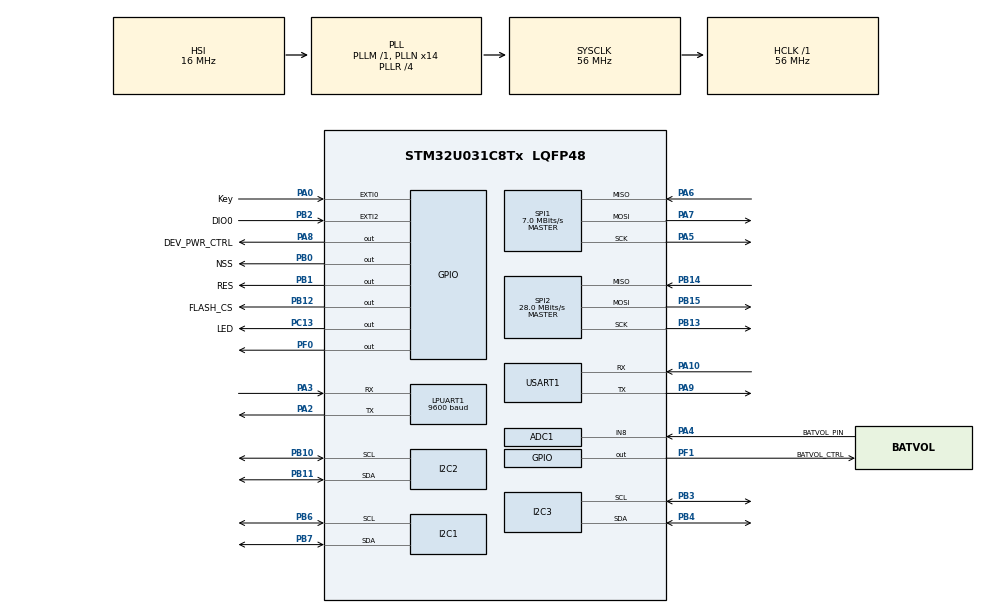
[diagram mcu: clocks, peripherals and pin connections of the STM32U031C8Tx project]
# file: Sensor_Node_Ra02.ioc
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ADC1.Channel-7\#ChannelRegularConversion=ADC_CHANNEL_8
ADC1.ClockPrescaler=ADC_CLOCK_SYNC_PCLK_DIV4
ADC1.NbrOfConversionFlag=1
ADC1.Rank-7\#ChannelRegularConversion=1
ADC1.RankArg-7\#ChannelRegularConversion=ADC_REGULAR_RANK_1
ADC1.SamplingTime-7\#ChannelRegularConversion=ADC_SAMPLINGTIME_COMMON_1
ADC1.SamplingTimeCommon1=ADC_SAMPLETIME_160CYCLES_5
ADC1.SamplingTimeCommon2=ADC_SAMPLETIME_160CYCLES_5
ADC1.SelectedChannel=ADC_CHANNEL_8
ADC1.master=1
CRC.CRCLength=CRC_POLYLENGTH_16B
CRC.DefaultInitValueUse=DEFAULT_INIT_VALUE_DISABLE
CRC.DefaultPolynomialUse=DEFAULT_POLYNOMIAL_DISABLE
CRC.GeneratingPolynomial=X15+X2+X0
CRC.InitValue=0xFFFF
CRC.InputDataInversionMode=CRC_INPUTDATA_INVERSION_BIT_BYBYTE
CRC.OutputDataInversionMode=CRC_OUTPUTDATA_INVERSION_BIT
Dma.Request0=USART1_RX
Dma.Request1=USART1_TX
Dma.USART1_RX.0.Direction=DMA_PERIPH_TO_MEMORY
Dma.USART1_RX.0.EventEnable=DISABLE
Dma.USART1_RX.0.Instance=DMA1_Channel1
Dma.USART1_RX.0.MemDataAlignment=DMA_MDATAALIGN_BYTE
Dma.USART1_RX.0.MemInc=DMA_MINC_ENABLE
Dma.USART1_RX.0.Mode=DMA_CIRCULAR
Dma.USART1_RX.0.PeriphDataAlignment=DMA_PDATAALIGN_BYTE
Dma.USART1_RX.0.PeriphInc=DMA_PINC_DISABLE
Dma.USART1_RX.0.Polarity=HAL_DMAMUX_REQ_GEN_RISING
Dma.USART1_RX.0.Priority=DMA_PRIORITY_LOW
Dma.USART1_RX.0.RequestNumber=1
Dma.USART1_RX.0.SignalID=NONE
Dma.USART1_RX.0.SyncEnable=DISABLE
Dma.USART1_RX.0.SyncPolarity=HAL_DMAMUX_SYNC_NO_EVENT
Dma.USART1_RX.0.SyncRequestNumber=1
Dma.USART1_RX.0.SyncSignalID=NONE
Dma.USART1_TX.1.Direction=DMA_MEMORY_TO_PERIPH
Dma.USART1_TX.1.EventEnable=DISABLE
Dma.USART1_TX.1.Instance=DMA1_Channel2
Dma.USART1_TX.1.MemDataAlignment=DMA_MDATAALIGN_BYTE
Dma.USART1_TX.1.MemInc=DMA_MINC_ENABLE
Dma.USART1_TX.1.Mode=DMA_NORMAL
Dma.USART1_TX.1.PeriphDataAlignment=DMA_PDATAALIGN_BYTE
Dma.USART1_TX.1.PeriphInc=DMA_PINC_DISABLE
Dma.USART1_TX.1.Polarity=HAL_DMAMUX_REQ_GEN_RISING
Dma.USART1_TX.1.Priority=DMA_PRIORITY_LOW
Dma.USART1_TX.1.RequestNumber=1
Dma.USART1_TX.1.SignalID=NONE
Dma.USART1_TX.1.SyncEnable=DISABLE
Dma.USART1_TX.1.SyncPolarity=HAL_DMAMUX_SYNC_NO_EVENT
Dma.USART1_TX.1.SyncRequestNumber=1
Dma.USART1_TX.1.SyncSignalID=NONE
I2C1.Timing=0x10606DA4
I2C2.Timing=0x10606DA4
I2C3.Timing=0x10606DA4
LPUART1.BaudRate=9600
Mcu.Family=STM32U0
Mcu.Name=STM32U031C8Tx
Mcu.Package=LQFP48
NVIC.DMA1_Channel1_IRQn=true\:3\:0\:true\:false\:true\:false\:true\:true
NVIC.DMA1_Channel2_3_IRQn=true\:3\:0\:true\:false\:true\:false\:true\:true
NVIC.EXTI0_1_IRQn=true\:2\:0\:true\:false\:true\:true\:true\:true
NVIC.EXTI2_3_IRQn=true\:1\:0\:true\:false\:true\:true\:true\:true
NVIC.PriorityGroup=NVIC_PRIORITYGROUP_2
NVIC.RTC_TAMP_IRQn=true\:0\:0\:false\:false\:true\:true\:true\:true
NVIC.USART1_IRQn=true\:3\:0\:true\:false\:true\:true\:true\:true
NVIC.USART3_LPUART1_IRQn=true\:3\:0\:true\:false\:true\:true\:true\:true
PA0.GPIO_Label=Key
PA0.GPIO_ModeDefaultEXTI=GPIO_MODE_IT_RISING_FALLING
PA0.GPIO_PuPd=GPIO_PULLUP
PA0.Signal=GPXTI0
PA10.Mode=Asynchronous
PA10.Signal=USART1_RX
PA13\ (SWDIO).Mode=Serial_Wire
PA13\ (SWDIO).Signal=DEBUG_JTMS-SWDIO
PA14\ (SWCLK).Mode=Serial_Wire
PA14\ (SWCLK).Signal=DEBUG_JTCK-SWCLK
PA2.Mode=Asynchronous
PA2.Signal=LPUART1_TX
PA3.Mode=Asynchronous
PA3.Signal=LPUART1_RX
PA4.GPIO_Label=BATVOL_PIN
PA4.Mode=IN8
PA4.Signal=ADC1_IN8
PA5.Mode=Full_Duplex_Master
PA5.Signal=SPI1_SCK
PA6.Mode=Full_Duplex_Master
PA6.Signal=SPI1_MISO
PA7.Mode=Full_Duplex_Master
PA7.Signal=SPI1_MOSI
PA8.GPIO_Label=DEV_PWR_CTRL
PA8.GPIO_PuPd=GPIO_PULLUP
PA8.GPIO_Speed=GPIO_SPEED_FREQ_LOW
PA8.PinState=GPIO_PIN_RESET
PA8.Signal=GPIO_Output
PA9.Mode=Asynchronous
PA9.Signal=USART1_TX
PB0.GPIO_Label=NSS
PB0.PinState=GPIO_PIN_SET
PB0.Signal=GPIO_Output
PB1.GPIO_Label=RES
PB1.PinState=GPIO_PIN_SET
PB1.Signal=GPIO_Output
PB10.Mode=I2C
PB10.Signal=I2C2_SCL
PB11.Mode=I2C
PB11.Signal=I2C2_SDA
PB12.GPIO_Label=FLASH_CS
PB12.GPIO_Speed=GPIO_SPEED_FREQ_HIGH
PB12.Signal=GPIO_Output
PB13.Mode=Full_Duplex_Master
PB13.Signal=SPI2_SCK
PB14.Mode=Full_Duplex_Master
PB14.Signal=SPI2_MISO
PB15.Mode=Full_Duplex_Master
PB15.Signal=SPI2_MOSI
PB2.GPIO_Label=DIO0
PB2.GPIO_PuPd=GPIO_PULLDOWN
PB2.Signal=GPXTI2
PB3.Mode=I2C
PB3.Signal=I2C3_SCL
PB4.Mode=I2C
PB4.Signal=I2C3_SDA
PB6.Mode=I2C
PB6.Signal=I2C1_SCL
PB7.Mode=I2C
PB7.Signal=I2C1_SDA
PC13.GPIO_Label=LED
PC13.GPIO_PuPd=GPIO_PULLUP
PC13.PinState=GPIO_PIN_RESET
PC13.Signal=GPIO_Output
PC14-OSC32_IN.Mode=LSE-External-Oscillator
PC14-OSC32_IN.Signal=RCC_OSC32_IN
PC15-OSC32_OUT.Mode=LSE-External-Oscillator
PC15-OSC32_OUT.Signal=RCC_OSC32_OUT
PF0-OSC_IN.PinState=GPIO_PIN_SET
PF0-OSC_IN.Signal=GPIO_Output
PF1-OSC_OUT.GPIO_Label=BATVOL_CTRL
PF1-OSC_OUT.GPIO_PuPd=GPIO_PULLUP
PF1-OSC_OUT.GPIO_Speed=GPIO_SPEED_FREQ_VERY_HIGH
PF1-OSC_OUT.PinState=GPIO_PIN_SET
PF1-OSC_OUT.Signal=GPIO_Output
ProjectManager.HeapSize=0x200
ProjectManager.StackSize=0x400
ProjectManager.TargetToolchain=MDK-ARM V5.37
RCC.ADCFreq_Value=56000000
RCC.AHBFreq_Value=56000000
RCC.CortexFreq_Value=56000000
RCC.HCLKFreq_Value=56000000
RCC.HSE_VALUE=8000000
RCC.HSI48_VALUE=48000000
RCC.HSI_VALUE=16000000
RCC.LPUART1CLockSelection=RCC_LPUART1CLKSOURCE_HSI
RCC.MSI_VALUE=4000000
RCC.PLLN=14
RCC.PLLR=RCC_PLLR_DIV4
RCC.SYSCLKFreq_VALUE=56000000
RCC.SYSCLKSource=RCC_SYSCLKSOURCE_PLLCLK
RCC.VCOOutputFreq_Value=224000000
RTC.WakeUpClock-WakeUp=RTC_WAKEUPCLOCK_CK_SPRE_16BITS
SPI1.BaudRatePrescaler=SPI_BAUDRATEPRESCALER_8
SPI1.CalculateBaudRate=7.0 MBits/s
SPI1.DataSize=SPI_DATASIZE_8BIT
SPI1.Direction=SPI_DIRECTION_2LINES
SPI1.Mode=SPI_MODE_MASTER
SPI1.VirtualType=VM_MASTER
SPI2.BaudRatePrescaler=SPI_BAUDRATEPRESCALER_2
SPI2.CalculateBaudRate=28.0 MBits/s
SPI2.DataSize=SPI_DATASIZE_8BIT
SPI2.Direction=SPI_DIRECTION_2LINES
SPI2.Mode=SPI_MODE_MASTER
SPI2.VirtualType=VM_MASTER
USART1.VirtualMode-Asynchronous=VM_ASYNC
VP_CRC_VS_CRC.Mode=CRC_Activate
VP_PWR_VS_SECSignals.Mode=Security/Privilege
VP_RTC_VS_RTC_Activate.Mode=RTC_Enabled
VP_RTC_VS_RTC_Calendar.Mode=RTC_Calendar
VP_RTC_VS_RTC_WakeUp_intern.Mode=WakeUp
board=custom

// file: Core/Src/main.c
/* USER CODE BEGIN Header */
/**
  ******************************************************************************
  * @file           : main.c
  * @brief          : Main program body
  ******************************************************************************
  * @attention
  *
  * Copyright (c) 2025 STMicroelectronics.
  * All rights reserved.
  *
  * This software is licensed under terms that can be found in the LICENSE file
  * in the root directory of this software component.
  * If no LICENSE file comes with this software, it is provided AS-IS.
  *
  ******************************************************************************
  */
/* USER CODE END Header */
#include "main.h"
#include "adc.h"
#include "crc.h"
#include "dma.h"
#include "i2c.h"
#include "usart.h"
#include "rtc.h"
#include "spi.h"
#include "gpio.h"

/* USER CODE BEGIN Includes */
#include "stdio.h"
#include "string.h"
#include "stdint.h"
#include "stdlib.h"
#include "LoRa.h"
#include "bh1750.h"
#include "bmp280.h"
#include "gps.h"
#include "w25qxx.h"
#include "sht40.h"
#include "device_properties.h"
#include "lora_protocol.h"
#include "battery.h"
#include "config_manager.h"
#include "key_handler.h"
#include "state_manager.h"
#include "cli_manager.h"
/* USER CODE END Includes */

/* USER CODE BEGIN PV */
// LoRa配置及发送缓冲区
static LoRa myLoRa;
static uint8_t lora_send_buffer[35];
// 传感器数据结构体 (volatile确保在中断和主循环间安全访问)
static volatile ExternalSensorProperties_t sensor_data;

// -- 系统状态机变量 --
static volatile SystemState_t g_SystemState = STATE_NORMAL_OPERATION;

// -- 低功耗工作循环相关变量 --
static uint8_t lora_transmission_count = 0;  // 当前工作周期内已发送的次数
static uint32_t last_transmission_time = 0; // 上次发送的时间戳
/* USER CODE END PV */

void SystemClock_Config(void);
/* USER CODE BEGIN PFP */
/** @brief 初始化所有应用层和驱动层外设 */
void Peripherals_Init(void);
/** @brief 反初始化所有应用层和驱动层外设，为进入低功耗模式做准备 */
void Peripherals_DeInit(void);
/** @brief 执行一次完整的数据采集、打包和LoRa发送流程 */
void Perform_Sensor_Transmission(void);

// --- 按键事件的回调函数 ---
void on_key_long_press(void);
void on_key_short_press(void);
/* USER CODE END PFP */

/* USER CODE BEGIN 0 */
void print_hex(char *buffer, int len){
	int i;
	printf("******************start code**********************************\n");
	for(i = 1; i <= len; i++){
		printf("0x%02X ",buffer[i-1]);
		if(i % 16 == 0){
			printf("\n");
		}
	}
	printf("\n");
	printf("********************end code************************************\n");
}

/**
 * @brief 长按按键的回调函数实现
 */
void on_key_long_press(void)
{
    // 仅在正常工作模式下响应，防止在配置模式下重复进入
    if (g_SystemState == STATE_NORMAL_OPERATION)
    {
        g_SystemState = STATE_CONFIGURATION;
        GPS_Pause(); // 暂停GPS处理以节省CPU资源
        HAL_GPIO_WritePin(LED_GPIO_Port, LED_Pin, GPIO_PIN_SET); // 打开LED作为状态指示
        printf("\r\n--- 按键长按: 进入配置模式 ---\r\n");
    }
}

/**
 * @brief 短按按键的回调函数实现
 */
void on_key_short_press(void)
{
    // 仅在配置模式下响应，用于退出配置模式
    if (g_SystemState == STATE_CONFIGURATION)
    {
        g_SystemState = STATE_NORMAL_OPERATION;
        GPS_Resume(); // 恢复GPS处理
        HAL_GPIO_WritePin(LED_GPIO_Port, LED_Pin, GPIO_PIN_RESET); // 关闭LED
        printf("\r\n--- 按键短按: 退出配置模式，恢复正常运行 ---\r\n");
    }
    else
    {
        // 在正常模式下，短按主要用于从STOP模式唤醒MCU。
        // 具体的唤醒逻辑由EXTI中断本身处理，这里可以定义其他交互功能。
        printf("\r\n--- 按键短按: (正常模式下) 可在此定义其他功能 ---\r\n");
    }
}
/* USER CODE END 0 */

int main(void)
{

  /* MCU Configuration--------------------------------------------------------*/

  /* Reset of all peripherals, Initializes the Flash interface and the Systick. */
  HAL_Init();

  /* Configure the system clock */
  SystemClock_Config();

  /* USER CODE BEGIN SysInit */
  // --- Check and handle wakeup from Stop mode ---
  if (__HAL_PWR_GET_FLAG(PWR_FLAG_WUF2) != RESET)
  {
    // Clear the RTC Wakeup flag
    __HAL_PWR_CLEAR_FLAG(PWR_FLAG_WUF2);
    // Note: WUF1 is for the key press, we let its handler run normally.
  }

  /* USER CODE END SysInit */

  /* Initialize all configured peripherals */
  MX_GPIO_Init();
  MX_DMA_Init();
  MX_SPI1_Init();
  MX_USART1_UART_Init();
  MX_ADC1_Init();
  MX_I2C1_Init();
  MX_I2C2_Init();
  MX_I2C3_Init();
  MX_SPI2_Init();
  MX_CRC_Init();
  MX_LPUART1_UART_Init();
  MX_RTC_Init();
  /* USER CODE BEGIN 2 */
  // 在启动时停用RTC唤醒定时器，因为它可能在复位后默认开启。
  // 我们只在进入休眠模式前才需要它。
  HAL_RTCEx_DeactivateWakeUpTimer(&hrtc);

  // 在系统启动时，仅执行一次按键处理模块的初始化。
  Key_Init();
  Key_Register_Callbacks(on_key_short_press, on_key_long_press);

  Peripherals_Init();

	printf("系统启动!\r\n");
  /* USER CODE END 2 */

  /* Infinite loop */
  while (1)
  {

    /* USER CODE BEGIN 3 */
    // 处理按键事件（主要负责检测长按）
    Key_Process();

    // --- 状态机逻辑 ---
    if (g_SystemState == STATE_NORMAL_OPERATION)
    {
        // 检查是否到了下一次发送的时间点。第一次(count=0)立即发送。
        if (lora_transmission_count < 4 &&
           (lora_transmission_count == 0 || HAL_GetTick() - last_transmission_time >= 5000))
        {
            Perform_Sensor_Transmission();
            lora_transmission_count++;
            last_transmission_time = HAL_GetTick(); // 发送后重置时间戳
        }

        // 如果当前周期的所有发送任务都已完成，则准备休眠
        if (lora_transmission_count >= 4)
        {
            printf("\r\n--- 工作周期完成，准备进入STOP 2模式... ---\r\n");
            Peripherals_DeInit(); // 关闭外设以降低功耗

            // 短暂延时，确保printf能完成输出
            HAL_Delay(100);

            // 挂起SysTick，防止SysTick中断唤醒MCU
            HAL_SuspendTick();

            // 设置RTC唤醒定时器，60秒后唤醒
            if (HAL_RTCEx_SetWakeUpTimer_IT(&hrtc, 59, RTC_WAKEUPCLOCK_CK_SPRE_16BITS, 0) != HAL_OK)
            {
                Error_Handler();
            }
            printf("RTC唤醒定时器已设置为60秒。\r\n");

            // 进入STOP 2模式，等待中断（WFI）
            HAL_PWREx_EnterSTOP2Mode(PWR_STOPENTRY_WFI);

            // --- MCU唤醒点 ---
            // 代码将在此处继续执行...

            // 从STOP模式唤醒后，系统时钟会重置为MSI，必须重新配置
            SystemClock_Config();
            // 恢复SysTick
            HAL_ResumeTick();
            printf("\r\n--- 已从STOP 2模式唤醒 ---\r\n");

            // 关键修复：从深度睡眠唤醒后，必须重新初始化所有HAL库级别的外设。
            // 因为在STOP模式下，它们大部分的时钟和电源都被关闭了。
            MX_GPIO_Init();
            MX_DMA_Init();
            MX_SPI1_Init();
            MX_USART1_UART_Init();
            MX_ADC1_Init();
            MX_I2C1_Init();
            MX_I2C2_Init();
            MX_I2C3_Init();
            MX_SPI2_Init();
            MX_CRC_Init();
            MX_LPUART1_UART_Init();
            // 注意：RTC在整个过程中持续运行，无需重新初始化。

            // 重置工作循环计数器，并重新初始化应用层驱动，准备开始新的工作周期
            lora_transmission_count = 0;
            Peripherals_Init();
        }
    }
    else if (g_SystemState == STATE_CONFIGURATION)
    {
        // 在配置模式下，循环处理CLI指令
        CLI_Process();
    }

    /* USER CODE END 3 */
  }
  /* USER CODE END 3 */
}

void SystemClock_Config(void)
{
  RCC_OscInitTypeDef RCC_OscInitStruct = {0};
  RCC_ClkInitTypeDef RCC_ClkInitStruct = {0};

  /** Configure the main internal regulator output voltage
  */
  HAL_PWREx_ControlVoltageScaling(PWR_REGULATOR_VOLTAGE_SCALE1);

  /** Initializes the RCC Oscillators according to the specified parameters
  * in the RCC_OscInitTypeDef structure.
  */
  RCC_OscInitStruct.OscillatorType = RCC_OSCILLATORTYPE_HSI|RCC_OSCILLATORTYPE_LSI;
  RCC_OscInitStruct.HSIState = RCC_HSI_ON;
  RCC_OscInitStruct.HSICalibrationValue = RCC_HSICALIBRATION_DEFAULT;
  RCC_OscInitStruct.LSIState = RCC_LSI_ON;
  RCC_OscInitStruct.PLL.PLLState = RCC_PLL_ON;
  RCC_OscInitStruct.PLL.PLLSource = RCC_PLLSOURCE_HSI;
  RCC_OscInitStruct.PLL.PLLM = RCC_PLLM_DIV1;
  RCC_OscInitStruct.PLL.PLLN = 14;
  RCC_OscInitStruct.PLL.PLLP = RCC_PLLP_DIV2;
  RCC_OscInitStruct.PLL.PLLQ = RCC_PLLQ_DIV2;
  RCC_OscInitStruct.PLL.PLLR = RCC_PLLR_DIV4;
  if (HAL_RCC_OscConfig(&RCC_OscInitStruct) != HAL_OK)
  {
    Error_Handler();
  }

  /** Initializes the CPU, AHB and APB buses clocks
  */
  RCC_ClkInitStruct.ClockType = RCC_CLOCKTYPE_HCLK|RCC_CLOCKTYPE_SYSCLK
                              |RCC_CLOCKTYPE_PCLK1;
  RCC_ClkInitStruct.SYSCLKSource = RCC_SYSCLKSOURCE_PLLCLK;
  RCC_ClkInitStruct.AHBCLKDivider = RCC_SYSCLK_DIV1;
  RCC_ClkInitStruct.APB1CLKDivider = RCC_HCLK_DIV1;

  if (HAL_RCC_ClockConfig(&RCC_ClkInitStruct, FLASH_LATENCY_2) != HAL_OK)
  {
    Error_Handler();
  }
}

/* USER CODE BEGIN 4 */
void Peripherals_DeInit(void)
{
    printf("De-initializing peripherals...\r\n");

    // De-init HAL drivers to save power and prevent bus issues
    HAL_SPI_DeInit(&hspi1);
    HAL_SPI_DeInit(&hspi2);
    HAL_I2C_DeInit(&hi2c1);
    HAL_I2C_DeInit(&hi2c2);
    HAL_I2C_DeInit(&hi2c3);
    HAL_ADC_DeInit(&hadc1);
    HAL_UART_DeInit(&hlpuart1);

    // Turn off peripheral power
    HAL_GPIO_WritePin(DEV_PWR_CTRL_GPIO_Port, DEV_PWR_CTRL_Pin, GPIO_PIN_RESET);
    printf("Peripheral power OFF.\r\n");
}

void Peripherals_Init(void)
{
  // This function centralizes all peripheral initializations
  // that need to be re-done after waking from certain low-power modes.

  // NOTE: Key handler is initialized only once at startup, not here.

  if (HAL_ADCEx_Calibration_Start(&hadc1) != HAL_OK)
  {
    Error_Handler();
  }

  printf("Drivers power init start...\r\n");
  HAL_GPIO_WritePin(DEV_PWR_CTRL_GPIO_Port, DEV_PWR_CTRL_Pin, GPIO_PIN_SET);
  HAL_Delay(500); // Give peripherals time to power up
  printf("Drivers power init ok!\r\n");

	if(Init_BH1750()){
		printf("bh1750 init ok!\r\n");
	}else{
		printf("bh1750 init err!\r\n");
	}

	if(!BMP280_Init()){
		printf("bmp280 init ok!\r\n");
	}else{
		printf("bmp280 init err!\r\n");
	}

	GPS_Init(&hlpuart1);
	printf("gp-02 init ok!\r\n");

	Battery_Init();

	if(!W25QXX_Init()){
		printf("W25QXX Flash init OK!\r\n");

    if (Config_Load()) {
        printf("Configuration loaded successfully from Flash.\r\n");
    } else {
        printf("No valid config found in Flash. Saving default values.\r\n");
        if (!Config_Save()) {
            printf("Error: Failed to save default configuration!\r\n");
            Error_Handler();
        }
    }
	}else{
		printf("W25QXX Flash init ERROR!\r\n");
    Config_SetDefault();
    printf("Using default configuration as Flash is not available.\r\n");
	}

  printf("----------------------------------------\r\n");
  printf("--- Device Configuration ---\r\n");
  printf("   Device ID:      0x%X\r\n", g_DeviceConfig.device_id);
  printf("   LoRa Frequency: %u MHz\r\n", g_DeviceConfig.lora_frequency);
  printf("----------------------------------------\r\n\r\n");

	myLoRa = newLoRa();
  myLoRa.CS_port = NSS_GPIO_Port;
  myLoRa.CS_pin = NSS_Pin;
  myLoRa.reset_port = RES_GPIO_Port;
  myLoRa.reset_pin = RES_Pin;
  myLoRa.DIO0_port = DIO0_GPIO_Port;
  myLoRa.DIO0_pin = DIO0_Pin;
  myLoRa.hSPIx = &hspi1;

  myLoRa.frequency = g_DeviceConfig.lora_frequency;

  uint16_t LoRa_status = LoRa_init(&myLoRa);
  if (LoRa_status == LORA_OK)
  {
    printf("lora init ok!\r\n");
  }
  else
  {
    printf("lora init err!\r\n");
  }

	HAL_Delay(2000);
}

void Perform_Sensor_Transmission(void)
{
    printf("\r\n--- Sensor Data Report (%d/4) ---\r\n", lora_transmission_count + 1);

    BMP280_t bmp280_data;
    BMP280_ReadData(&bmp280_data);
    sensor_data.airPressure = bmp280_data.pressure;
    SHT40_Read_RHData((double *)&sensor_data.outdoorTemperature,(double *)&sensor_data.outdoorHumidity);
    BH1750_GetDate((uint16_t *)&sensor_data.outdoorLightIntensity);

    sensor_data.common.batteryVoltage = Battery_GetVoltage();
    sensor_data.common.batteryLevel = Battery_GetPercentage(sensor_data.common.batteryVoltage);

    if (gps_data.new_data_flag)
    {
        gps_data.new_data_flag = 0;
        if (gps_data.status == 'A')
        {
          sensor_data.altitude = gps_data.altitude;
          format_location_string(gps_data.latitude, gps_data.lat_indicator,
                   gps_data.longitude, gps_data.lon_indicator,(char *)&sensor_data.location,sizeof(sensor_data.location));
        }
    }

    printf("  Temperature:      %.2f C\r\n", sensor_data.outdoorTemperature);
    printf("  Humidity:         %.2f %%\r\n", sensor_data.outdoorHumidity);
    printf("  Light Intensity:  %d lux\r\n", sensor_data.outdoorLightIntensity);
    printf("  Air Pressure:     %.2f\r\n", sensor_data.airPressure);
    printf("  GPS Altitude:     %.1f m\r\n", sensor_data.altitude);
    printf("  GPS Location:     %s\r\n", sensor_data.location);
    printf("  Battery:          %u %% (%.2f V)\r\n", sensor_data.common.batteryLevel, sensor_data.common.batteryVoltage);
    printf("--------------------------\r\n");

    sensor_data_payload_t sensor_lora_payload;
    if(lora_model_create_sensor_payload((const ExternalSensorProperties_t *)&sensor_data,&sensor_lora_payload)){
      int lora_data_len = generate_lora_frame(LORA_HOST_ADDRESS,g_DeviceConfig.device_id,MSG_TYPE_REPORT_SENSOR,0,(const uint8_t*)&sensor_lora_payload,sizeof(sensor_lora_payload),lora_send_buffer,sizeof(lora_send_buffer));
      printf("lora_data_len:%d\r\n",lora_data_len);
      print_hex((char *)lora_send_buffer, lora_data_len);
      printf("lora send status:%d\r\n",LoRa_transmit(&myLoRa,lora_send_buffer,lora_data_len,3000));
    }

    if (lora_transmission_count < 3)
    {
        printf("--- Waiting 5 seconds for next transmission... ---\r\n");
    }
}
/* USER CODE END 4 */

void Error_Handler(void)
{
  /* USER CODE BEGIN Error_Handler_Debug */
  /* User can add his own implementation to report the HAL error return state */
  __disable_irq();
	HAL_NVIC_SystemReset();
  while (1)
  {
  }
  /* USER CODE END Error_Handler_Debug */
}
